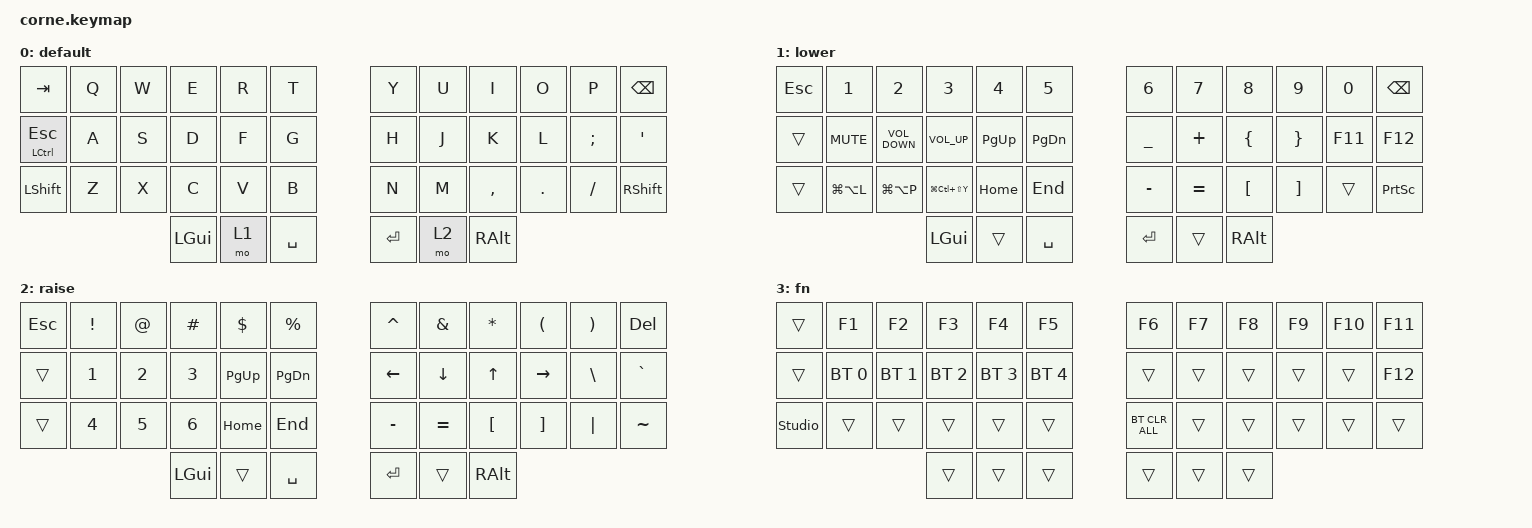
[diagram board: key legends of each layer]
/*
 * Copyright (c) 2020 The ZMK Contributors
 *
 * SPDX-License-Identifier: MIT
 */

#include <behaviors.dtsi>
#include <dt-bindings/zmk/bt.h>
#include <dt-bindings/zmk/keys.h>

/ {
    combos {
        compatible = "zmk,combos";

        left_brace {
            bindings = <&kp LEFT_BRACE>;
            key-positions = <3 4>;
        };

        right_brace {
            bindings = <&kp RIGHT_BRACE>;
            key-positions = <7 8>;
        };

        left_par {
            bindings = <&kp LEFT_PARENTHESIS>;
            key-positions = <15 16>;
        };

        right_par {
            bindings = <&kp RIGHT_PARENTHESIS>;
            key-positions = <19 20>;
        };

        left_bracket {
            bindings = <&kp LEFT_BRACKET>;
            key-positions = <27 28>;
        };

        right_bracket {
            bindings = <&kp RIGHT_BRACKET>;
            key-positions = <31 32>;
        };

        capslock {
            bindings = <&kp CAPSLOCK>;
            key-positions = <24 35>;
        };
    };

    keymap {
        compatible = "zmk,keymap";

        default {
            // -----------------------------------------------------------------------------------------
            // |  TAB |  Q  |  W  |  E  |  R  |  T  |   |  Y  |  U   |  I  |  O  |  P  | BKSP |
            // | CTRL |  A  |  S  |  D  |  F  |  G  |   |  H  |  J   |  K  |  L  |  ;  |  '   |
            // | SHFT |  Z  |  X  |  C  |  V  |  B  |   |  N  |  M   |  ,  |  .  |  /  | ESC  |
            //                    | GUI | LWR | SPC |   | ENT | RSE  | ALT |

            bindings = <
&kp TAB                  &kp Q  &kp W  &kp E     &kp R  &kp T        &kp Y    &kp U  &kp I      &kp O    &kp P     &kp BSPC
&mt LEFT_CONTROL ESCAPE  &kp A  &kp S  &kp D     &kp F  &kp G        &kp H    &kp J  &kp K      &kp L    &kp SEMI  &kp SQT
&kp LSHFT                &kp Z  &kp X  &kp C     &kp V  &kp B        &kp N    &kp M  &kp COMMA  &kp DOT  &kp FSLH  &kp RIGHT_SHIFT
                                       &kp LGUI  &mo 1  &kp SPACE    &kp RET  &mo 2  &kp RALT
            >;
        };

        lower {
            // -----------------------------------------------------------------------------------------
            // |  TAB |  1  |  2  |  3  |  4  |  5  |   |  6  |  7  |  8  |  9  |  0  | BKSP |
            // | BTCLR| BT1 | BT2 | BT3 | BT4 | BT5 |   | LFT | DWN |  UP | RGT |     |      |
            // | SHFT |     |     |     |     |     |   |     |     |     |     |     |      |
            //                    | GUI |     | SPC |   | ENT |     | ALT |

            bindings = <
&kp ESCAPE  &kp N1         &kp N2             &kp N3             &kp N4       &kp N5           &kp NUMBER_6  &kp NUMBER_7  &kp NUMBER_8      &kp N9             &kp NUMBER_0  &kp BSPC
&trans      &kp K_MUTE     &kp C_VOLUME_DOWN  &kp C_VOLUME_UP    &kp PAGE_UP  &kp PAGE_DOWN    &kp UNDER     &kp PLUS      &kp LEFT_BRACE    &kp RIGHT_BRACE    &kp F11       &kp F12
&trans      &kp LG(LA(L))  &kp LG(LA(P))      &kp LG(LC(LS(Y)))  &kp HOME     &kp END          &kp MINUS     &kp EQUAL     &kp LEFT_BRACKET  &kp RIGHT_BRACKET  &trans        &kp PRINTSCREEN
                                              &kp LGUI           &trans       &kp SPACE        &kp RET       &trans        &kp RALT
            >;
        };

        raise {
            // -----------------------------------------------------------------------------------------
            // |  TAB |  !  |  @  |  #  |  $  |  %  |   |  ^  |  &  |  *  |  (  |  )  | BKSP |
            // | CTRL |     |     |     |     |     |   |  -  |  =  |  [  |  ]  |  \  |  `   |
            // | SHFT |     |     |     |     |     |   |  _  |  +  |  {  |  }  | "|" |  ~   |
            //                    | GUI |     | SPC |   | ENT |     | ALT |

            bindings = <
&kp ESCAPE  &kp EXCL      &kp AT        &kp HASH      &kp DLLR     &kp PRCNT        &kp CARET       &kp AMPS        &kp ASTRK         &kp LPAR           &kp RPAR  &kp DELETE
&trans      &kp NUMBER_1  &kp NUMBER_2  &kp NUMBER_3  &kp PAGE_UP  &kp PAGE_DOWN    &kp LEFT_ARROW  &kp DOWN_ARROW  &kp UP_ARROW      &kp RIGHT_ARROW    &kp BSLH  &kp GRAVE
&trans      &kp N4        &kp N5        &kp N6        &kp HOME     &kp END          &kp MINUS       &kp EQUAL       &kp LEFT_BRACKET  &kp RIGHT_BRACKET  &kp PIPE  &kp TILDE
                                        &kp LGUI      &trans       &kp SPACE        &kp RET         &trans          &kp RALT
            >;
        };

        fn {
            bindings = <
&trans          &kp F1        &kp F2        &kp F3        &kp F4        &kp F5          &kp F6          &kp F7  &kp F8  &kp F9  &kp F10  &kp F11
&trans          &bt BT_SEL 0  &bt BT_SEL 1  &bt BT_SEL 2  &bt BT_SEL 3  &bt BT_SEL 4    &trans          &trans  &trans  &trans  &trans   &kp F12
&studio_unlock  &trans        &trans        &trans        &trans        &trans          &bt BT_CLR_ALL  &trans  &trans  &trans  &trans   &trans
                                            &trans        &trans        &trans          &trans          &trans  &trans
            >;
        };
    };

    conditional_layers {
        compatible = "zmk,conditional-layers";

        fn {
            if-layers = <1 2>;
            then-layer = <3>;
        };
    };
};
